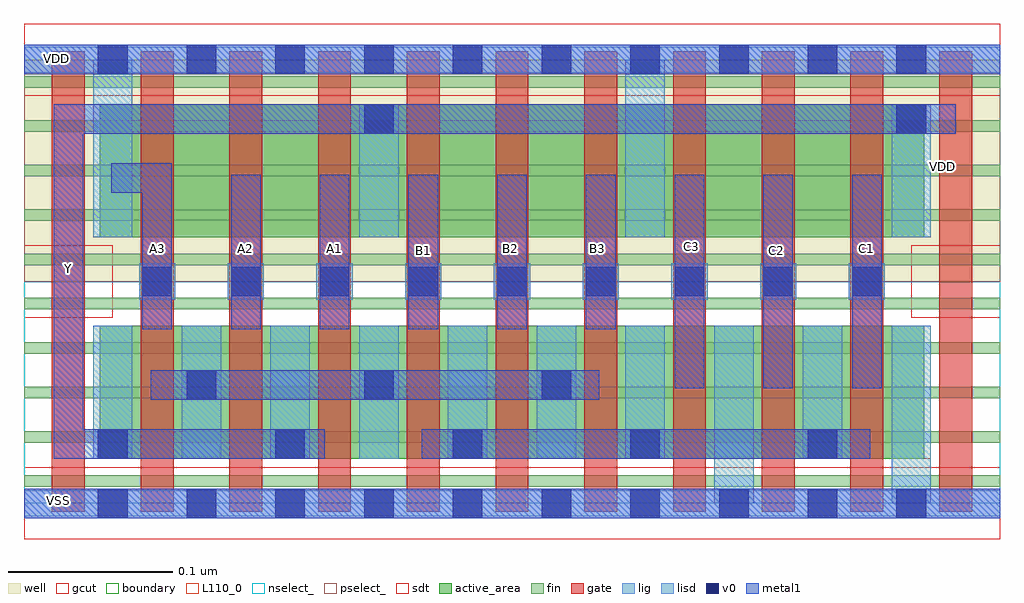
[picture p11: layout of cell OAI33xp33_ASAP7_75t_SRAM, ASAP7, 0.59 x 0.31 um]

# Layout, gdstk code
import gdstk
lib = gdstk.Library(unit=1e-6, precision=1e-09)
def R(c, l, rs):  # rectangles x0, y0, x1, y1
    for r in rs: c.add(gdstk.rectangle(r[:2], r[2:], *l))
def A(c, l, x, y, w, h, nx, ny, dx, dy):  # array of equal rectangles
    R(c, l, [(x+i*dx, y+j*dy, x+i*dx+w, y+j*dy+h) for i in range(nx) for j in range(ny)])
def P(c, l, *ps):  # polygons
    for p in ps: c.add(gdstk.Polygon(p, *l))
well = (1, 0)
fin = (2, 0)
gate = (7, 0)
gcut = (10, 0)
active_area = (11, 0)
nselect_ = (12, 0)
pselect_ = (13, 0)
lig = (16, 0)
lisd = (17, 0)
v0 = (18, 0)
metal1 = (19, 0)
sdt = (88, 0)
boundary = (100, 0)
L110_0 = (110, 0)

oai33xp33_asap7_75t_sram = lib.new_cell('OAI33xp33_ASAP7_75t_SRAM')
R(oai33xp33_asap7_75t_sram, well, [(0,0.135,0.594,0.27)])
A(oai33xp33_asap7_75t_sram, fin, 0, 0.01, 0.594, 0.007, 1, 10, 0, 0.027)
A(oai33xp33_asap7_75t_sram, gate, 0.017, -0.005, 0.02, 0.28, 11, 1, 0.054, 0)
R(oai33xp33_asap7_75t_sram, gcut, [(0,-0.022,0.098,0.022), (0,-0.022,0.594,0.022), (0.496,-0.022,0.594,0.022), (0,0.113,0.054,0.157), (0.54,0.113,0.594,0.157), (0,0.248,0.098,0.292), (0,0.248,0.594,0.292), (0.496,0.248,0.594,0.292)])
R(oai33xp33_asap7_75t_sram, active_area, [(0.046,0.027,0.548,0.108), (0.046,0.162,0.548,0.243)])
R(oai33xp33_asap7_75t_sram, nselect_, [(0,0,0.594,0.135)])
R(oai33xp33_asap7_75t_sram, pselect_, [(0,0.135,0.594,0.27)])
A(oai33xp33_asap7_75t_sram, lig, 0.07, 0.124, 0.022, 0.022, 9, 1, 0.054, 0)
R(oai33xp33_asap7_75t_sram, lig, [(0,-0.008,0.594,0.008), (0,0.262,0.594,0.278)])
A(oai33xp33_asap7_75t_sram, lisd, 0.042, 0.027, 0.024, 0.081, 7, 1, 0.054, 0)
R(oai33xp33_asap7_75t_sram, lisd, [(0.42,0,0.444,0.108), (0.528,0,0.552,0.108), (0.474,0.027,0.498,0.108), (0.042,0.162,0.066,0.27), (0.204,0.162,0.228,0.243), (0.366,0.162,0.39,0.27), (0.528,0.162,0.552,0.243)])
A(oai33xp33_asap7_75t_sram, v0, 0.045, -0.009, 0.018, 0.018, 10, 2, 0.054, 0.27)
A(oai33xp33_asap7_75t_sram, v0, 0.045, 0.027, 0.018, 0.018, 5, 1, 0.108, 0)
A(oai33xp33_asap7_75t_sram, v0, 0.099, 0.063, 0.018, 0.018, 3, 1, 0.108, 0)
A(oai33xp33_asap7_75t_sram, v0, 0.072, 0.126, 0.018, 0.018, 9, 1, 0.054, 0)
R(oai33xp33_asap7_75t_sram, v0, [(0.207,0.225,0.225,0.243), (0.531,0.225,0.549,0.243)])
A(oai33xp33_asap7_75t_sram, metal1, 0.396, 0.07, 0.018, 0.13, 3, 1, 0.054, 0)
A(oai33xp33_asap7_75t_sram, metal1, 0.126, 0.106, 0.018, 0.094, 5, 1, 0.054, 0)
R(oai33xp33_asap7_75t_sram, metal1, [(0,-0.009,0.594,0.009), (0.242,0.027,0.515,0.045), (0.077,0.063,0.35,0.081), (0,0.261,0.594,0.279)])
P(oai33xp33_asap7_75t_sram, metal1, [(0.09,0.106),(0.072,0.106),(0.072,0.189),(0.053,0.189),(0.053,0.207),(0.09,0.207)],
  [(0.567,0.225),(0.036,0.225),(0.036,0.045),(0.183,0.045),(0.183,0.027),(0.018,0.027),(0.018,0.243),(0.567,0.243)])
A(oai33xp33_asap7_75t_sram, sdt, 0.042, 0.027, 0.024, 0.081, 10, 1, 0.054, 0)
A(oai33xp33_asap7_75t_sram, sdt, 0.042, 0.162, 0.024, 0.081, 4, 1, 0.162, 0)
R(oai33xp33_asap7_75t_sram, boundary, [(0,0,0.594,0.27)])
R(oai33xp33_asap7_75t_sram, L110_0, [(0,0,0.594,0.27)])
oai33xp33_asap7_75t_sram.add(gdstk.Label('VSS', (0.232,-0.043), layer=3, texttype=251))
oai33xp33_asap7_75t_sram.add(gdstk.Label('VDD', (0.559,0.205), layer=1, texttype=251))
oai33xp33_asap7_75t_sram.add(gdstk.Label('C1', (0.513,0.155), layer=19, texttype=251))
oai33xp33_asap7_75t_sram.add(gdstk.Label('C2', (0.458,0.154), layer=19, texttype=251))
oai33xp33_asap7_75t_sram.add(gdstk.Label('C3', (0.406,0.156), layer=19, texttype=251))
oai33xp33_asap7_75t_sram.add(gdstk.Label('B3', (0.349,0.155), layer=19, texttype=251))
oai33xp33_asap7_75t_sram.add(gdstk.Label('B2', (0.296,0.155), layer=19, texttype=251))
oai33xp33_asap7_75t_sram.add(gdstk.Label('B1', (0.243,0.154), layer=19, texttype=251))
oai33xp33_asap7_75t_sram.add(gdstk.Label('A1', (0.189,0.155), layer=19, texttype=251))
oai33xp33_asap7_75t_sram.add(gdstk.Label('A2', (0.135,0.155), layer=19, texttype=251))
oai33xp33_asap7_75t_sram.add(gdstk.Label('A3', (0.081,0.155), layer=19, texttype=251))
oai33xp33_asap7_75t_sram.add(gdstk.Label('Y', (0.027,0.143), layer=19, texttype=251))
oai33xp33_asap7_75t_sram.add(gdstk.Label('VDD', (0.02,0.271), layer=19, texttype=251))
oai33xp33_asap7_75t_sram.add(gdstk.Label('VSS', (0.021,0.002), layer=19, texttype=251))

lib.write_gds('OAI33xp33_ASAP7_75t_SRAM.gds')
